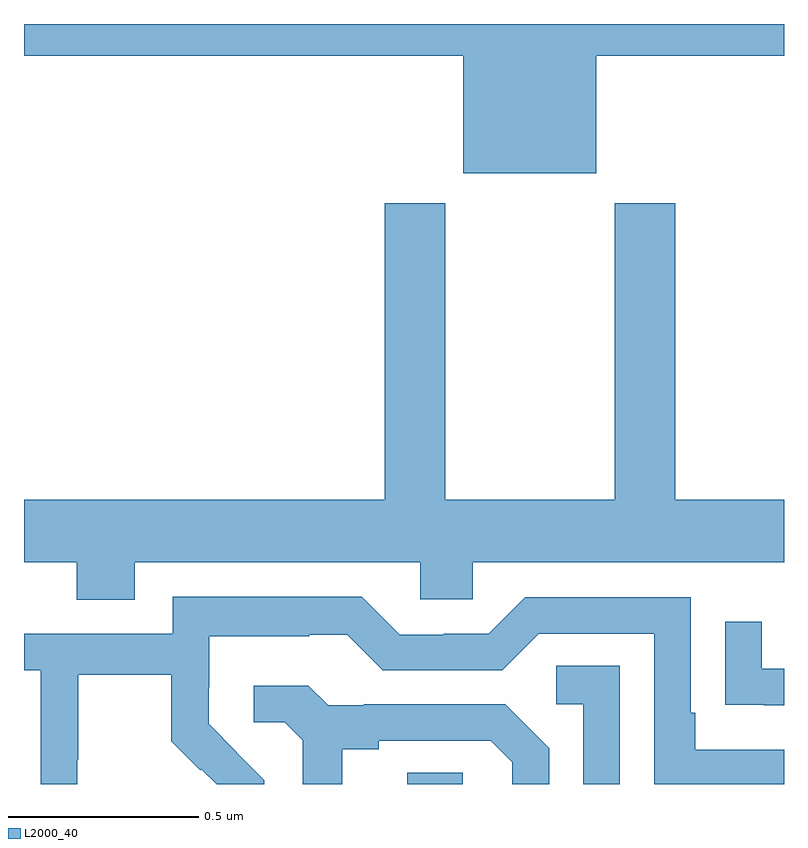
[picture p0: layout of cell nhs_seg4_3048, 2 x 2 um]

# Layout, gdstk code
import gdstk
lib = gdstk.Library(unit=1e-6, precision=1e-09)
def R(c, l, rs):  # rectangles x0, y0, x1, y1
    for r in rs: c.add(gdstk.rectangle(r[:2], r[2:], *l))
def P(c, l, *ps):  # polygons
    for p in ps: c.add(gdstk.Polygon(p, *l))
L2000_40 = (2000, 40)

nhs_seg4_3048 = lib.new_cell('nhs_seg4_3048')
R(nhs_seg4_3048, L2000_40, [(149.009,798.9,149.154,798.929)])
P(nhs_seg4_3048, L2000_40, [(148,800.816),(149.156,800.816),(149.156,800.507),(149.506,800.507),(149.506,800.816),(150,800.816),(150,800.9),(148,800.9)],
  [(148.291,799.484),(149.043,799.484),(149.043,799.386),(149.181,799.386),(149.181,799.484),(150,799.484),(150,799.648),(149.714,799.648),(149.714,800.428),(149.554,800.428),(149.554,799.648),(149.109,799.648),(149.109,800.428),(148.949,800.428),(148.949,799.648),(148,799.648),(148,799.484),(148.139,799.484),(148.139,799.385),(148.291,799.385)],
  [(148.14,798.964),(148.143,798.964),(148.143,799.188),(148.387,799.188),(148.387,799.013),(148.464,798.936),(148.467,798.939),(148.507,798.9),(148.632,798.9),(148.632,798.91),(148.559,798.983),(148.56,798.984),(148.486,799.058),(148.486,799.155),(148.488,799.155),(148.488,799.289),(148.751,799.289),(148.751,799.293),(148.851,799.293),(148.944,799.2),(149.259,799.2),(149.355,799.296),(149.658,799.296),(149.658,798.9),(150,798.9),(150,798.99),(149.767,798.99),(149.767,799.087),(149.754,799.087),(149.754,799.392),(149.319,799.392),(149.223,799.296),(149.105,799.296),(149.105,799.293),(148.989,799.293),(148.889,799.393),(148.392,799.393),(148.392,799.296),(148,799.296),(148,799.2),(148.044,799.2),(148.044,798.9),(148.14,798.9)],
  [(150,799.203),(149.941,799.203),(149.941,799.327),(149.845,799.327),(149.845,799.108),(149.947,799.108),(149.947,799.107),(150,799.107)],
  [(149.568,799.211),(149.4,799.211),(149.4,799.11),(149.472,799.11),(149.472,798.9),(149.568,798.9)],
  [(148.837,798.992),(148.933,798.992),(148.933,799.014),(149.228,799.014),(149.285,798.957),(149.285,798.9),(149.382,798.9),(149.382,798.994),(149.266,799.11),(148.894,799.11),(148.894,799.107),(148.8,799.107),(148.748,799.159),(148.605,799.159),(148.605,799.062),(148.686,799.062),(148.733,799.015),(148.733,798.9),(148.837,798.9)])

lib.write_gds('nhs_seg4_3048.gds')
